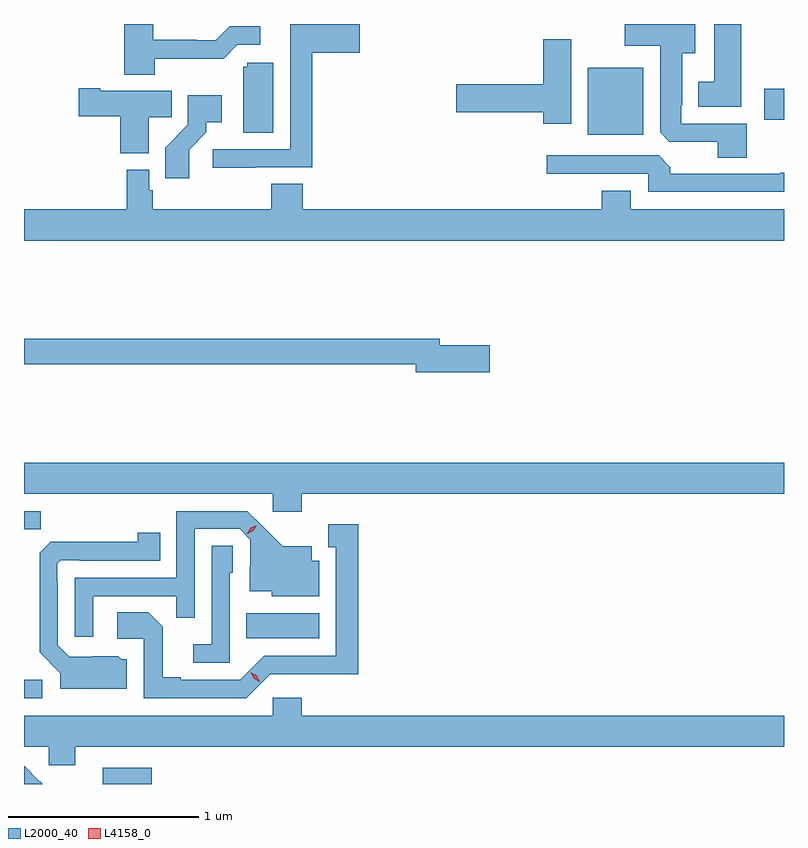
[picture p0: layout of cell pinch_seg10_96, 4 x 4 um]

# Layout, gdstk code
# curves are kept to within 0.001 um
import gdstk
lib = gdstk.Library(unit=1e-6, precision=1e-09)
def R(c, l, rs):  # rectangles x0, y0, x1, y1
    for r in rs: c.add(gdstk.rectangle(r[:2], r[2:], *l))
def P(c, l, *ps):  # polygons
    for p in ps: c.add(gdstk.Polygon(p, *l))
L2000_40 = (2000, 40)
L4158_0 = (4158, 0)

pinch_seg10_96 = lib.new_cell('pinch_seg10_96')
R(pinch_seg10_96, L2000_40, [(719.808,1293.46,720.065,1293.546), (719.393,1293.912,719.488,1294.008), (720.562,1294.226,720.946,1294.36), (719.393,1294.801,719.481,1294.896), (722.36,1296.878,722.653,1297.231), (723.288,1296.956,723.393,1297.119), (723.338,1297.458,723.393,1297.46)])
P(pinch_seg10_96, L2000_40, [(723.169,1297.46),(723.026,1297.46),(723.026,1297.156),(722.942,1297.156),(722.942,1297.025),(723.169,1297.025)],
  [(720.081,1297.278),(720.443,1297.277),(720.516,1297.35),(720.637,1297.35),(720.637,1297.447),(720.475,1297.447),(720.402,1297.374),(720.302,1297.374),(720.302,1297.377),(720.073,1297.377),(720.073,1297.46),(719.921,1297.46),(719.921,1297.193),(720.081,1297.193)],
  [(723.197,1296.936),(722.853,1296.936),(722.853,1297.033),(722.857,1297.033),(722.857,1297.307),(722.926,1297.307),(722.926,1297.46),(722.556,1297.46),(722.556,1297.346),(722.741,1297.346),(722.741,1296.889),(722.79,1296.84),(723.044,1296.84),(723.044,1296.757),(723.197,1296.757)],
  [(720.611,1296.705),(720.911,1296.705),(720.911,1297.31),(721.159,1297.31),(721.159,1297.46),(720.794,1297.46),(720.794,1297.326),(720.795,1297.326),(720.795,1296.801),(720.387,1296.801),(720.387,1296.703),(720.611,1296.703)],
  [(722.272,1297.38),(722.126,1297.38),(722.126,1297.142),(721.668,1297.142),(721.668,1296.995),(722.126,1296.995),(722.126,1296.936),(722.272,1296.936)],
  [(720.706,1297.257),(720.567,1297.257),(720.567,1297.236),(720.548,1297.236),(720.548,1296.888),(720.706,1296.888)],
  [(720.049,1296.97),(720.17,1296.97),(720.17,1297.108),(719.794,1297.108),(719.794,1297.121),(719.682,1297.121),(719.682,1296.974),(719.9,1296.974),(719.9,1296.779),(720.049,1296.779)],
  [(720.262,1296.799),(720.352,1296.889),(720.352,1296.944),(720.433,1296.944),(720.433,1297.084),(720.255,1297.084),(720.255,1296.929),(720.136,1296.81),(720.136,1296.648),(720.262,1296.648)],
  [(723.393,1296.677),(723.374,1296.677),(723.374,1296.672),(722.795,1296.672),(722.795,1296.706),(722.733,1296.768),(722.145,1296.768),(722.145,1296.672),(722.679,1296.672),(722.679,1296.576),(723.393,1296.576)],
  [(723.393,1296.484),(722.587,1296.484),(722.587,1296.583),(722.435,1296.583),(722.435,1296.484),(720.86,1296.484),(720.86,1296.62),(720.695,1296.62),(720.695,1296.484),(720.071,1296.484),(720.071,1296.585),(720.051,1296.585),(720.051,1296.694),(719.935,1296.694),(719.935,1296.484),(719.393,1296.484),(719.393,1296.32),(723.393,1296.32)],
  [(721.843,1295.768),(721.582,1295.768),(721.582,1295.804),(719.393,1295.804),(719.393,1295.668),(721.454,1295.668),(721.454,1295.626),(721.843,1295.626)],
  [(720.854,1294.988),(723.393,1294.988),(723.393,1295.152),(719.393,1295.152),(719.393,1294.988),(720.702,1294.988),(720.702,1294.893),(720.854,1294.893)],
  [(719.757,1294.449),(720.193,1294.449),(720.193,1294.336),(720.291,1294.336),(720.291,1294.803),(720.528,1294.803),(720.585,1294.746),(720.585,1294.604),(720.581,1294.604),(720.581,1294.475),(720.696,1294.475),(720.696,1294.448),(720.946,1294.448),(720.946,1294.635),(720.907,1294.635),(720.907,1294.711),(720.755,1294.711),(720.568,1294.896),(720.195,1294.896),(720.195,1294.545),(719.661,1294.545),(719.661,1294.236),(719.757,1294.236)],
  [(720.69,1294.038),(721.153,1294.037),(721.153,1294.828),(720.995,1294.828),(720.995,1294.707),(721.034,1294.707),(721.034,1294.134),(720.657,1294.134),(720.531,1294.008),(720.217,1294.008),(720.217,1294.021),(720.123,1294.021),(720.123,1294.288),(720.047,1294.364),(719.883,1294.364),(719.883,1294.224),(720.024,1294.224),(720.024,1293.912),(720.564,1293.912)],
  [(719.935,1294.116),(719.904,1294.116),(719.888,1294.132),(719.631,1294.131),(719.571,1294.191),(719.571,1294.52),(719.568,1294.52),(719.568,1294.62),(719.586,1294.638),(719.686,1294.638),(719.686,1294.635),(720.11,1294.635),(720.11,1294.783),(719.992,1294.783),(719.992,1294.736),(719.534,1294.735),(719.475,1294.676),(719.475,1294.154),(719.585,1294.044),(719.585,1293.962),(719.935,1293.962)],
  [(720.477,1294.572),(720.492,1294.572),(720.492,1294.715),(720.381,1294.715),(720.381,1294.195),(720.285,1294.195),(720.285,1294.098),(720.477,1294.098)],
  [(719.662,1293.656),(723.393,1293.656),(723.393,1293.82),(720.854,1293.82),(720.854,1293.913),(720.702,1293.913),(720.702,1293.82),(719.393,1293.82),(719.393,1293.656),(719.523,1293.656),(719.523,1293.558),(719.662,1293.558)],
  [(719.478,1293.474),(719.477,1293.473),(719.393,1293.557),(719.393,1293.46),(719.492,1293.46)])
P(pinch_seg10_96, L4158_0, [(720.633,1293.996),(720.602,1294.016),(720.586,1294.049),(720.586,1294.049),(720.586,1294.049),(720.617,1294.03),(720.634,1293.997),(720.634,1293.996)],
  [(720.569,1294.778),(720.569,1294.779),(720.587,1294.808),(720.618,1294.823),(720.618,1294.823),(720.618,1294.822),(720.6,1294.793),(720.57,1294.778)])

lib.write_gds('pinch_seg10_96.gds')
